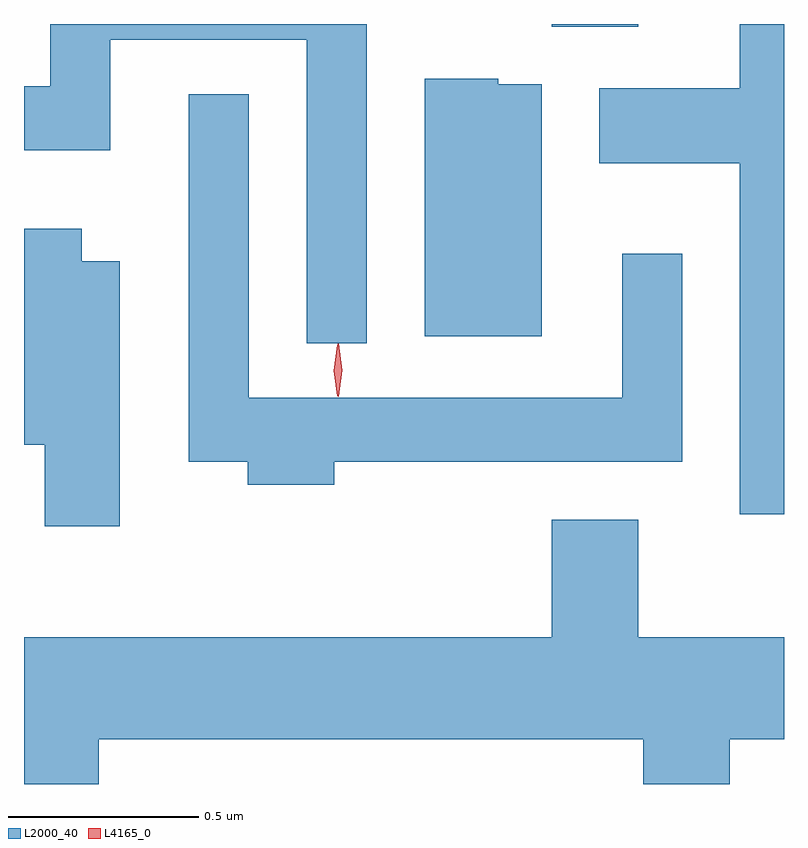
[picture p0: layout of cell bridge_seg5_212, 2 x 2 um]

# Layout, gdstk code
import gdstk
lib = gdstk.Library(unit=1e-6, precision=1e-09)
def R(c, l, rs):  # rectangles x0, y0, x1, y1
    for r in rs: c.add(gdstk.rectangle(r[:2], r[2:], *l))
def P(c, l, *ps):  # polygons
    for p in ps: c.add(gdstk.Polygon(p, *l))
L2000_40 = (2000, 40)
L4165_0 = (4165, 0)

bridge_seg5_212 = lib.new_cell('bridge_seg5_212')
R(bridge_seg5_212, L2000_40, [(1291.851,1425.371,1292.079,1425.378)])
P(bridge_seg5_212, L2000_40, [(1292.462,1425.378),(1292.346,1425.378),(1292.346,1425.209),(1291.976,1425.209),(1291.976,1425.011),(1292.346,1425.011),(1292.346,1424.088),(1292.462,1424.088)],
  [(1291.364,1425.378),(1290.531,1425.378),(1290.531,1425.214),(1290.462,1425.214),(1290.462,1425.046),(1290.689,1425.046),(1290.689,1425.336),(1291.206,1425.336),(1291.206,1424.538),(1291.364,1424.538)],
  [(1291.824,1425.219),(1291.71,1425.219),(1291.71,1425.234),(1291.516,1425.234),(1291.516,1424.556),(1291.824,1424.556)],
  [(1291.279,1424.226),(1292.194,1424.226),(1292.194,1424.773),(1292.036,1424.773),(1292.036,1424.394),(1291.054,1424.394),(1291.054,1425.193),(1290.896,1425.193),(1290.896,1424.226),(1291.051,1424.226),(1291.051,1424.166),(1291.279,1424.166)],
  [(1290.714,1424.754),(1290.614,1424.754),(1290.614,1424.839),(1290.462,1424.839),(1290.462,1424.271),(1290.516,1424.271),(1290.516,1424.056),(1290.714,1424.056)],
  [(1290.659,1423.496),(1292.091,1423.496),(1292.091,1423.378),(1292.319,1423.378),(1292.319,1423.496),(1292.462,1423.496),(1292.462,1423.764),(1292.079,1423.764),(1292.079,1424.074),(1291.851,1424.074),(1291.851,1423.764),(1290.462,1423.764),(1290.462,1423.378),(1290.659,1423.378)])
P(bridge_seg5_212, L4165_0, [(1291.287,1424.399),(1291.286,1424.4),(1291.277,1424.466),(1291.286,1424.533),(1291.287,1424.533),(1291.288,1424.533),(1291.297,1424.466),(1291.288,1424.4)],
  [(1291.289,1424.397),(1291.289,1424.398),(1291.279,1424.467),(1291.288,1424.536),(1291.289,1424.536),(1291.29,1424.536),(1291.299,1424.467),(1291.29,1424.398)])

lib.write_gds('bridge_seg5_212.gds')
